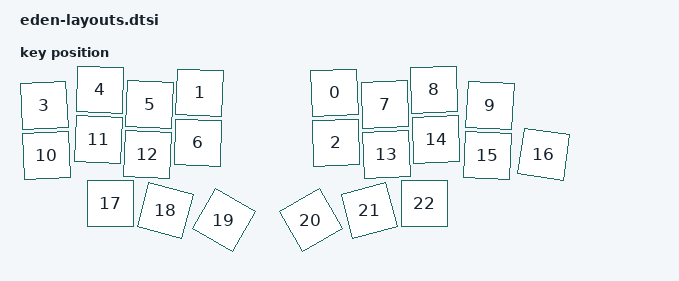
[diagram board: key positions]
#include <physical_layouts.dtsi>

/ {
    physical_layout_eden: physical_layout_eden {
        compatible = "zmk,physical-layout";
        display-name = "eden";
        keys  //                     w   h    x    y     rot    rx    ry
            = <&key_physical_attrs 100 100  635   56  (-200)   685   106>
            , <&key_physical_attrs 100 100   49(-18)  (-300)    99    32>
            , <&key_physical_attrs 100 100  170(-50)     200   220 (-50)>
            , <&key_physical_attrs 100 100  268(-20)     200   318    30>
            , <&key_physical_attrs 100 100  365   56     200   415   106>
            , <&key_physical_attrs 100 100  732(-20)  (-200)   782    30>
            , <&key_physical_attrs 100 100  831(-50)  (-200)   881 (-50)>
            , <&key_physical_attrs 100 100  952(-18)     300  1002    32>
            , <&key_physical_attrs 100 100  638  156  (-200)   688   206>
            , <&key_physical_attrs 100 100   54   81  (-300)   104   131>
            , <&key_physical_attrs 100 100  166   50     200   216   100>
            , <&key_physical_attrs 100 100  265   79     200   315   129>
            , <&key_physical_attrs 100 100  362  156     200   412   206>
            , <&key_physical_attrs 100 100  736   79  (-200)   786   129>
            , <&key_physical_attrs 100 100  834   50  (-200)   884   100>
            , <&key_physical_attrs 100 100  946   81     300   996   131>
            , <&key_physical_attrs 100 100(-52)  179  (-800)  (-2)   229>
            , <&key_physical_attrs 100 100   59  181  (-300)   109   231>
            , <&key_physical_attrs 100 100  163  149     200   213   199>
            , <&key_physical_attrs 100 100  261  179     200   311   229>
            , <&key_physical_attrs 100 100  739  179  (-200)   789   229>
            , <&key_physical_attrs 100 100  838  149  (-200)   888   199>
            , <&key_physical_attrs 100 100  941  181     300   991   231>
            , <&key_physical_attrs 100 100 1053  179     800  1103   229>
            , <&key_physical_attrs 100 100  186  277       0   186   277>
            , <&key_physical_attrs 100 100  296  291    1500   346   341>
            , <&key_physical_attrs 100 100  413  311 (-6000)   463   361>
            , <&key_physical_attrs 100 100  587  311    6000   637   361>
            , <&key_physical_attrs 100 100  704  291 (-1500)   754   341>
            , <&key_physical_attrs 100 100  814  277       0   814   277>
            ;
    };
};
